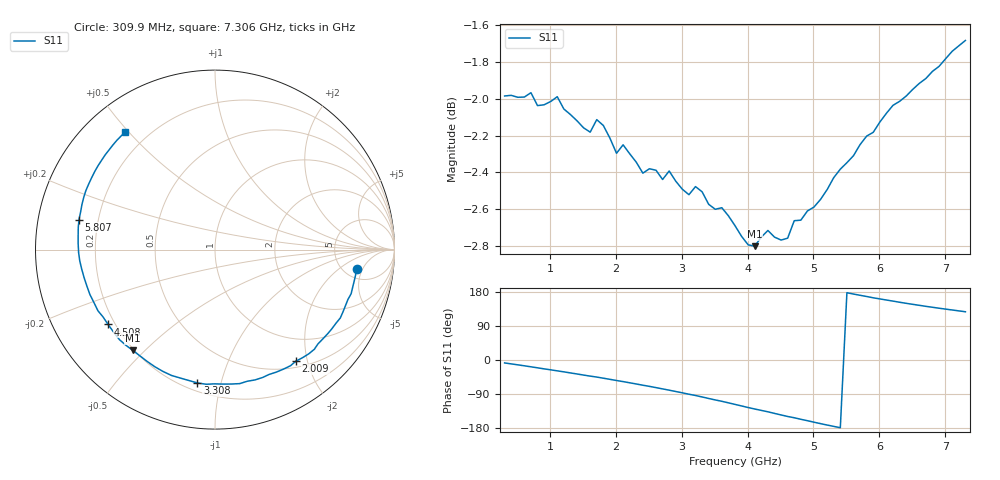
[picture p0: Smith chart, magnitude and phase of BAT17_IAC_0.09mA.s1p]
! Infineon Technologies  Discrete & RF Semiconductors
! BAT17
! IAC = 0.09 mA
! One-Port S-Parameters
# Hz  S  MA  R  50
!f  S11
!Hz  Mag  Ang
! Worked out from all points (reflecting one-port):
!   71 points, 309.9 MHz to 7.306 GHz, reference 50 ohm
!   lowest |S11| = -2.8 dB at 4.108 GHz (marker M1), VSWR 6.25, Z = 9.73 - j22.9 ohm
!   phase of S11 starts at -8 deg and turns -225 deg over the sweep
!   S11 on the Smith chart (normalised r, x): 309.9 MHz: 6.53, -3.81; 2.009 GHz: 0.60, -1.80; 3.308 GHz: 0.25, -0.85; 4.508 GHz: 0.17, -0.31; 5.807 GHz: 0.13, +0.11; 7.306 GHz: 0.12, +0.49
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3.0985e8  0.7957 -7.7
7.0965e8  0.7973 -18.0
1.10945e9  0.7953 -28.6
1.2094e9  0.7892 -31.3
1.70915e9  0.784 -45.1
2.009e9  0.7677 -54.1
2.10895e9  0.7718 -57.0
2.6087e9  0.7596 -72.9
2.8086e9  0.7592 -79.6
3.0085e9  0.7506 -86.6
3.2084e9  0.7518 -93.7
3.30835e9  0.7494 -97.5
3.6082e9  0.7419 -109.0
3.8081e9  0.7337 -117.2
4.10795e9  0.7243 -129.3
4.30785e9  0.7315 -136.7
4.50775e9  0.7271 -145.0
4.70765e9  0.7359 -152.4
4.90755e9  0.7404 -160.2
5.2074e9  0.7504 -171.6
5.4073e9  0.7601 -178.8
5.6072e9  0.7665 174.1
5.8071e9  0.776 167.6
5.90705e9  0.7778 164.2
6.2069e9  0.7911 155.4
6.50675e9  0.799 146.9
6.90655e9  0.8106 136.7
7.30635e9  0.8238 127.3
